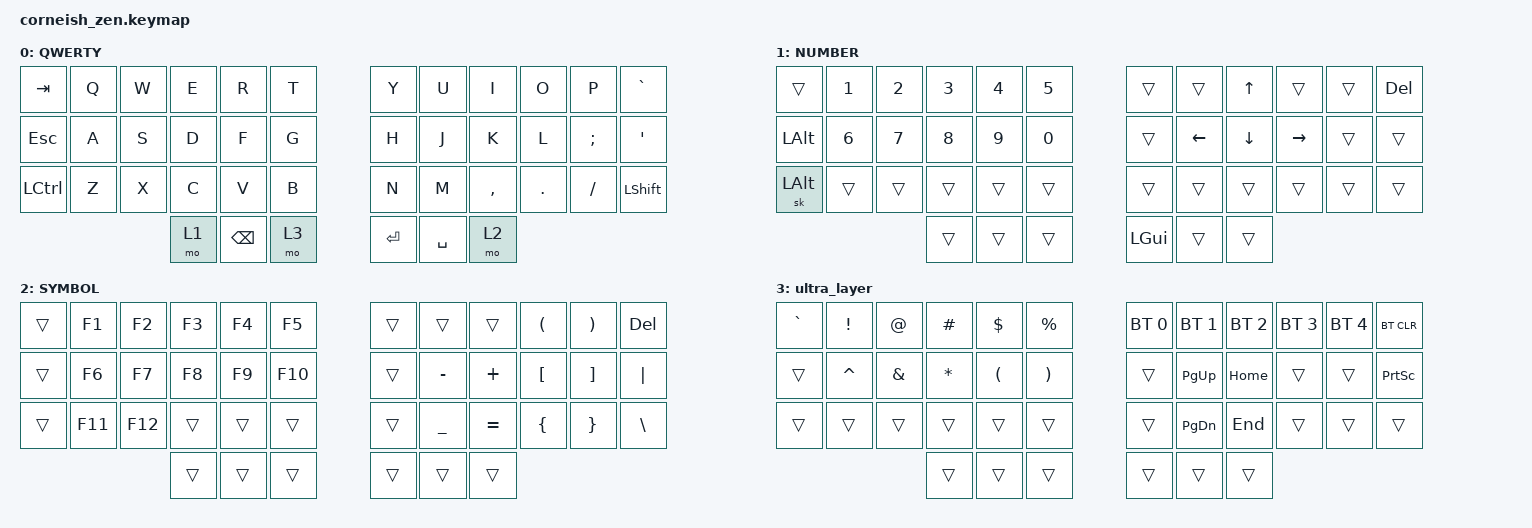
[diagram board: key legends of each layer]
#include <behaviors.dtsi>
#include <dt-bindings/zmk/keys.h>
#include <dt-bindings/zmk/bt.h>

/ {
  chosen {
    zmk,matrix_transform = &default_transform;
    //zmk,matrix_transform = &five_column_transform;
  };
};

/ {
        keymap {
                compatible = "zmk,keymap";

                default_layer {
                        label = "QWERTY";
// -----------------------------------------------------------------------------------------
// |  TAB |  Q  |  W  |  E  |  R  |  T  |   |  Y  |  U   |  I  |  O  |  P  | BKSP |
// | CTRL |  A  |  S  |  D  |  F  |  G  |   |  H  |  J   |  K  |  L  |  ;  |  '   |
// | SHFT |  Z  |  X  |  C  |  V  |  B  |   |  N  |  M   |  ,  |  .  |  /  | ESC  |
//                    | GUI | LWR | SPC |   | ENT | RSE  | ALT |
                        bindings = <
   &kp TAB   &kp Q &kp W &kp E &kp R    &kp T            &kp Y   &kp U   &kp I     &kp O   &kp P    &kp GRAVE
   &kp ESC   &kp A &kp S &kp D &kp F    &kp G            &kp H   &kp J   &kp K     &kp L   &kp SEMI &kp SQT
   &kp LCTRL &kp Z &kp X &kp C &kp V    &kp B            &kp N   &kp M   &kp COMMA &kp DOT &kp FSLH &kp LSHFT
                         &mo 1 &kp BSPC &mo 3            &kp RET &kp SPC &mo 2
                        >;
                };
                lower_layer {
                        label = "NUMBER";
// -----------------------------------------------------------------------------------------
// |  TAB |  1  |  2  |  3  |  4  |  5  |   |  6  |  7  |  8  |  9  |  0  | BKSP |
// | BTCLR| BT1 | BT2 | BT3 | BT4 | BT5 |   | LFT | DWN |  UP | RGT |     |      |
// | SHFT |     |     |     |     |     |   |     |     |     |     |     |      |
//                    | GUI |     | SPC |   | ENT |     | ALT |
                        bindings = <
   &trans       &kp N1   &kp N2   &kp N3   &kp N4   &kp N5          &trans    &trans    &kp UP    &trans      &trans  &kp DEL
   &kp LALT     &kp N6   &kp N7   &kp N8   &kp N9   &kp N0          &trans    &kp LEFT  &kp DOWN  &kp RIGHT   &trans  &trans
   &sk LALT     &trans   &trans   &trans   &trans   &trans          &trans    &trans    &trans    &trans      &trans  &trans
                                  &trans   &trans   &trans          &kp LGUI  &trans    &trans
                        >;
                };

                raise_layer {
                        label = "SYMBOL";
// -----------------------------------------------------------------------------------------
// |  TAB |  !  |  @  |  #  |  $  |  %  |   |  ^  |  &  |  *  |  (  |  )  | BKSP |
// | CTRL |     |     |     |     |     |   |  -  |  =  |  [  |  ]  |  \  |  `   |
// | SHFT |     |     |     |     |     |   |  _  |  +  |  {  |  }  | "|" |  ~   |
//                    | GUI |     | SPC |   | ENT |     | ALT |
                        bindings = <
   &trans  &kp F1  &kp F2  &kp F3  &kp F4  &kp F5          &trans  &trans     &trans    &kp LPAR &kp RPAR  &kp DEL
   &trans  &kp F6  &kp F7  &kp F8  &kp F9  &kp F10         &trans  &kp MINUS  &kp PLUS  &kp LBKT &kp RBKT  &kp PIPE
   &trans  &kp F11 &kp F12 &trans  &trans  &trans          &trans  &kp UNDER  &kp EQUAL &kp LBRC &kp RBRC  &kp BSLH
                           &trans  &trans  &trans          &trans  &trans     &trans
                        >;
                };
                ultra_layer {//333333
                        bindings = <
   &kp GRAVE  &kp EXCL   &kp AT    &kp HASH  &kp DLLR  &kp PRCNT         &bt BT_SEL 0 &bt BT_SEL 1 &bt BT_SEL 2 &bt BT_SEL 3       &bt BT_SEL 4  &bt BT_CLR
   &trans     &kp CARET  &kp AMPS  &kp STAR  &kp LPAR  &kp RPAR          &trans       &kp PG_UP    &kp HOME     &trans             &trans        &kp PSCRN
   &trans     &trans     &trans    &trans    &trans    &trans            &trans       &kp PG_DN    &kp END      &trans             &trans        &trans
                                   &trans    &trans    &trans            &trans       &trans       &trans
                        >;
                };
        };
};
